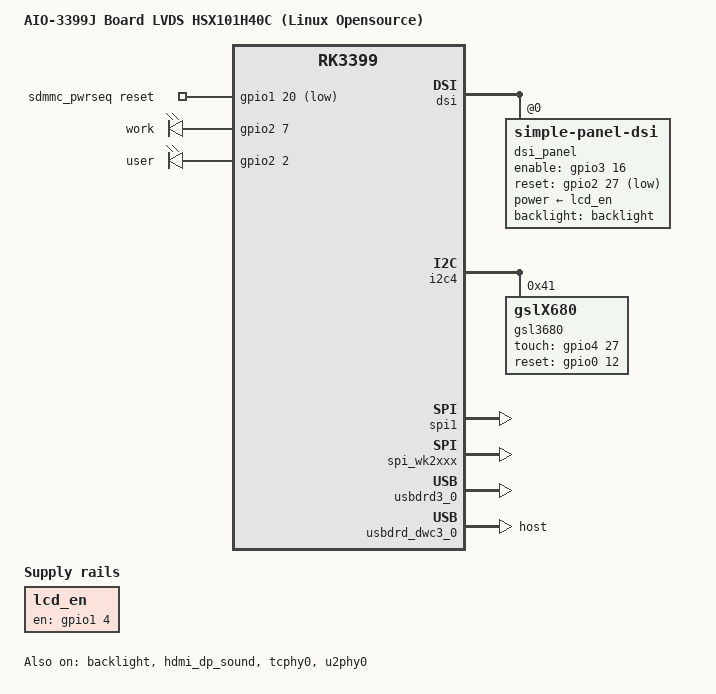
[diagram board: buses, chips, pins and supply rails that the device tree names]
/*
 * Copyright (c) 2016 Fuzhou Rockchip Electronics Co., Ltd
 *
 * This file is dual-licensed: you can use it either under the terms
 * of the GPL or the X11 license, at your option. Note that this dual
 * licensing only applies to this file, and not this project as a
 * whole.
 *
 *  a) This file is free software; you can redistribute it and/or
 *     modify it under the terms of the GNU General Public License as
 *     published by the Free Software Foundation; either version 2 of the
 *     License, or (at your option) any later version.
 *
 *     This file is distributed in the hope that it will be useful,
 *     but WITHOUT ANY WARRANTY; without even the implied warranty of
 *     MERCHANTABILITY or FITNESS FOR A PARTICULAR PURPOSE.  See the
 *     GNU General Public License for more details.
 *
 * Or, alternatively,
 *     restriction, including without limitation the rights to use,
 *     copy, modify, merge, publish, distribute, sublicense, and/or
 *     sell copies of the Software, and to permit persons to whom the
 *     Software is furnished to do so, subject to the following
 *     conditions:
 *
 *     The above copyright notice and this permission notice shall be
 *     included in all copies or substantial portions of the Software.
 *
 *     THE SOFTWARE IS PROVIDED "AS IS", WITHOUT WARRANTY OF ANY KIND,
 *     EXPRESS OR IMPLIED, INCLUDING BUT NOT LIMITED TO THE WARRANTIES
 *     OF MERCHANTABILITY, FITNESS FOR A PARTICULAR PURPOSE AND
 *     NONINFRINGEMENT. IN NO EVENT SHALL THE AUTHORS OR COPYRIGHT
 *     HOLDERS BE LIABLE FOR ANY CLAIM, DAMAGES OR OTHER LIABILITY,
 *     WHETHER IN AN ACTION OF CONTRACT, TORT OR OTHERWISE, ARISING
 *     FROM, OUT OF OR IN CONNECTION WITH THE SOFTWARE OR THE USE OR
 *     OTHER DEALINGS IN THE SOFTWARE.
 */

/dts-v1/;

#include "rk3399-firefly-port.dtsi"
#include <dt-bindings/sensor-dev.h>
#include <dt-bindings/display/media-bus-format.h>

/ {
	model = "AIO-3399J Board LVDS HSX101H40C (Linux Opensource)";
	compatible = "rockchip,rk3399-firefly", "rockchip,rk3399";

	test-power {
		status = "okay";
	};

	/delete-node/ vcc-sd;
	sdmmc_pwrseq: sdmmc-pwrseq {
		compatible = "mmc-pwrseq-simple";
		clocks = <&rk808 1>;
		clock-names = "ext_clock";
		pinctrl-names = "default";
		pinctrl-0 = <&sdcard_enable_h>;
		/*
		* On the module itself this is one of these (depending
		* on the actual card populated):
		* - SDIO_RESET_L_WL_REG_ON
		* - PDN (power down when low)
		*/
		reset-gpios = <&gpio1 20 GPIO_ACTIVE_LOW>; /* GPIO1_C4 */
	};

	lcd_en:lcd-en-regulator {
		compatible = "regulator-fixed";
		enable-active-high;
		gpio = <&gpio1 4 GPIO_ACTIVE_HIGH>;
		pinctrl-names = "default";
		pinctrl-0 = <&lcd_panel_lcd_en>;
		regulator-name = "lcd_en";
		regulator-always-on;
	};

	leds {
		compatible = "gpio-leds";

		work {
			gpios = <&gpio2 7 GPIO_ACTIVE_HIGH>;
			default-state = "on";
		};

		user {
			gpios = <&gpio2 2 GPIO_ACTIVE_HIGH>;
			default-state = "off";
		};
	};
};

&backlight {
	status = "okay";
	pwms = <&pwm0 0 25000 1>;
	enable-gpios = <&gpio1 1 GPIO_ACTIVE_HIGH>;
	brightness-levels = </*
		  0   1   2   3   4   5   6   7
		  8   9  10  11  12  13  14  15
		 16  17  18  19  20  21  22  23
		 24  25  26  27  28  29  30  31
		 32  33  34  35*/36  37  38  39
		 40  41  42  43  44  45  46  47
		 48  49  50  51  52  53  54  55
		 56  57  58  59  60  61  62  63
		 64  65  66  67  68  69  70  71
		 72  73  74  75  76  77  78  79
		 80  81  82  83  84  85  86  87
		 88  89  90  91  92  93  94  95
		 96  97  98  99 100 101 102 103
		104 105 106 107 108 109 110 111
		112 113 114 115 116 117 118 119
		120 121 122 123 124 125 126 127
		128 129 130 131 132 133 134 135
		136 137 138 139 140 141 142 143
		144 145 146 147 148 149 150 151
		152 153 154 155 156 157 158 159
		160 161 162 163 164 165 166 167
		168 169 170 171 172 173 174 175
		176 177 178 179 180 181 182 183
		184 185 186 187 188 189 190 191
		192 193 194 195 196 197 198 199
		200 201 202 203 204 205 206 207
		208 209 210 211 212 213 214 215
		216 217 218 219 220 221 222 223
		224 225 226 227 228 229 230 231
		232 233 234 235 236 237 238 239
		240 241 242 243 244 245 246 247
		248 249 250 251 252 253 254 255>;
	default-brightness-level = <200>;
};

&dsi {
	status = "okay";
	dsi_panel: panel {
		compatible ="simple-panel-dsi";
		reg = <0>;
		backlight = <&backlight>;
		enable-gpios = <&gpio3 16 GPIO_ACTIVE_HIGH>;
		reset-gpios = <&gpio2 27 GPIO_ACTIVE_LOW>;
		dsi,flags = <(MIPI_DSI_MODE_VIDEO | MIPI_DSI_MODE_VIDEO_BURST | MIPI_DSI_MODE_LPM | MIPI_DSI_MODE_EOT_PACKET)>;
		dsi,format = <MIPI_DSI_FMT_RGB888>;
		bus-format = <MEDIA_BUS_FMT_RGB666_1X18>;
		dsi,lvds-force-clk = <800>; // 800/2/3 ~= 65Mhz
		dsi,lanes = <4>;
		dsi,channel = <0>;
		enable-delay-ms = <35>;
		prepare-delay-ms = <6>;
		unprepare-delay-ms = <0>;
		disable-delay-ms = <20>;
		size,width = <120>;
		size,height = <170>;
		power-supply = <&lcd_en>;
		status = "okay";

		panel-init-sequence = [
			29 02 06 3C 01 09 00 07 00
			29 02 06 14 01 06 00 00 00
			29 02 06 64 01 0B 00 00 00
			29 02 06 68 01 0B 00 00 00
			29 02 06 6C 01 0B 00 00 00
			29 02 06 70 01 0B 00 00 00
			29 02 06 34 01 1F 00 00 00
			29 02 06 10 02 1F 00 00 00
			29 02 06 04 01 01 00 00 00
			29 02 06 04 02 01 00 00 00
			29 02 06 50 04 20 01 F0 03
			29 02 06 54 04 19 00 5A 00
			29 02 06 58 04 20 03 24 00
			29 02 06 5C 04 0A 00 19 00
			29 02 06 60 04 00 05 0A 00
			29 02 06 64 04 01 00 00 00
			29 02 06 A0 04 06 80 44 00

			29 02 06 A0 04 06 80 04 00
			29 02 06 04 05 04 00 00 00
			29 02 06 80 04 00 01 02 03
			29 02 06 84 04 04 07 05 08
			29 02 06 88 04 09 0A 0E 0F
			29 02 06 8C 04 0B 0C 0D 10
			29 02 06 90 04 16 17 11 12
			29 02 06 94 04 13 14 15 1B
			29 02 06 98 04 18 19 1A 06
			/*
			29 02 06 80 04 1A 1A 1A 1A
			29 02 06 84 04 1A 19 1A 1A
			29 02 06 88 04 18 18 19 19
			29 02 06 8C 04 18 18 18 18
			29 02 06 90 04 19 19 18 12
			29 02 06 94 04 13 14 15 19
			29 02 06 98 04 18 19 1A 19
			*/
			29 02 06 9C 04 31 04 00 00
		];

		panel-exit-sequence = [
			05 05 01 28
			05 78 01 10
		];

		disp_timings: display-timings {
			native-mode = <&timing0>;
			timing0: timing0 {
				clock-frequency = <166000000>;
				hactive = <800>;
				vactive = <1280>;
				hsync-len = <10>;
				hback-porch = <100>;
				hfront-porch = <1580>;
				vsync-len = <10>;
				vback-porch = <25>;
				vfront-porch = <10>;
				hsync-active = <0>;
				vsync-active = <0>;
				de-active = <0>;
				pixelclk-active = <0>;
			};
		};
	};
};

&route_dsi {
	status = "disabled";
	logo,mode = "center";
};

&dsi_in_vopl {
	status = "disabled";
};

&cdn_dp {
	status = "disabled";
};

&hdmi_dp_sound {
	status = "okay";
};

&i2c4 {
	status = "okay";

	gsl3680: gsl3680@41 {
		compatible = "gslX680";
		reg = <0x41>;
		screen_max_x = <800>;
		screen_max_y = <1280>;
		touch-gpio = <&gpio4 27 IRQ_TYPE_LEVEL_LOW>;
		reset-gpio = <&gpio0 12 GPIO_ACTIVE_HIGH>;
		gsl,fw = <1>;
		flip-x = <1>;
		flip-y = <0>;
		swap-xy = <0>;
	};

	sensor@4c {
		status = "disabled";
		compatible = "gs_mc3230";
		reg = <0x4c>;
		type = <SENSOR_TYPE_ACCEL>;
		irq_enable = <0>;
		poll_delay_ms = <30>;
		layout = <1>;
	};
};

&rt5640 {
    aux-det-adc-value = <1000>;
    io-channels = <&saradc 4>, <&saradc 2>;
    io-channel-names = "hp-det", "aux-det";
};

&sdmmc {
	/delete-property/ vmmc-supply;
	mmc-pwrseq = <&sdmmc_pwrseq>;
};

&spi1 {
    status = "okay";
};

&spi_wk2xxx {
    status = "okay";
};

&fusb0 {
    status = "disabled";
};

&tcphy0 {
    status = "okay";
    /delete-property/ extcon;
};

&u2phy0 {
    status = "okay";
    /delete-property/ extcon;

    u2phy0_otg: otg-port {
        rockchip,vbus-always-on;
        vbus-5v-gpios = <&gpio1 3 GPIO_ACTIVE_HIGH>;
        status = "okay";
    };
};

&usbdrd3_0 {
    status = "okay";
    /delete-property/ extcon;
};

&usbdrd_dwc3_0 {
	status = "okay";
	dr_mode = "host";
};

&vcc3v3_pcie {
    gpio = <&gpio0 13 GPIO_ACTIVE_HIGH>;
};

&pcie0 {
	ep-gpios = <&gpio4 25 GPIO_ACTIVE_HIGH>;
};

&vcc3v3_3g {
    gpio = <&gpio2 6 GPIO_ACTIVE_HIGH>;
};

&uart4 {
    status = "disabled";
};

&dp_in_vopb {
	status = "disabled";
};

&hdmi_in_vopb {
	status = "disabled";
};

&wdt {
	status = "disabled";
};

&pinctrl {
	leds {
		led_power: led-power {
			rockchip,pins =
				<2 7 RK_FUNC_GPIO &pcfg_pull_none>;
		};

		led_user: led-user {
			rockchip,pins =
				<2 2 RK_FUNC_GPIO &pcfg_pull_none>;
		};
	};

	pcie {
		pcie_drv: pcie-drv {
			rockchip,pins =
				<0 13 RK_FUNC_GPIO &pcfg_pull_none>;
		};

		pcie_3g_drv: pcie-3g-drv {
			rockchip,pins =
				<2 6 RK_FUNC_GPIO &pcfg_pull_up>;
		};
	};

	sdmmc-pwrseq {
		sdcard_enable_h: sdcard-enable-h {
			rockchip,pins =
				<1 20 RK_FUNC_GPIO &pcfg_pull_none>;
		};
	};

	lcd-panel {
		lcd_panel_lcd_en:lcd-panel-lcd-en {
			rockchip,pins = <1 4 RK_FUNC_GPIO &pcfg_pull_down>;
		};
	};
};
